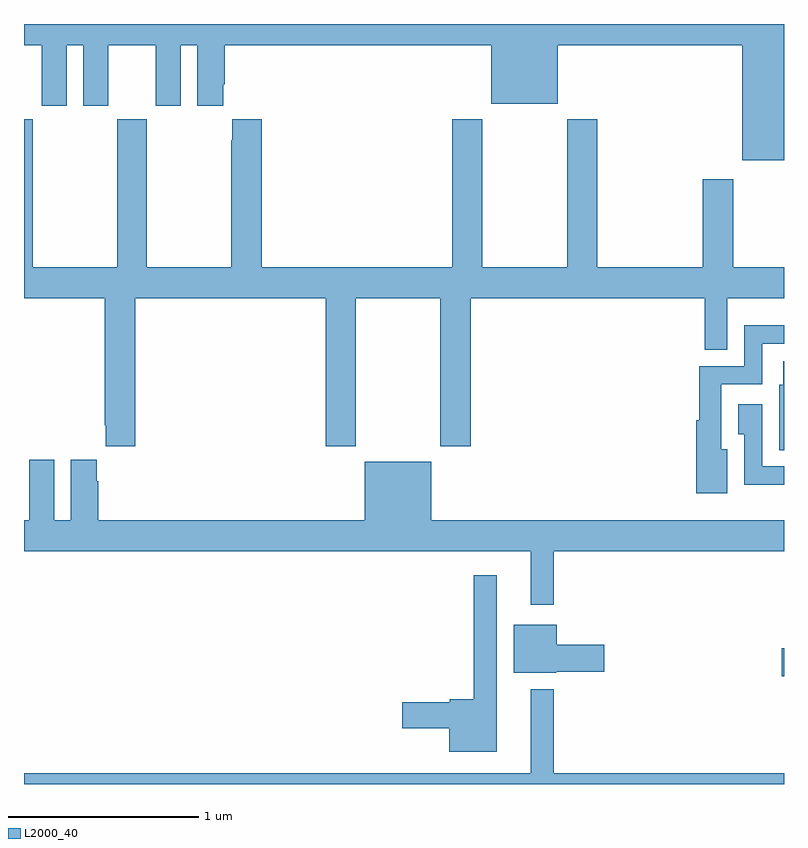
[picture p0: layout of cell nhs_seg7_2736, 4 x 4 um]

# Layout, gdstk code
import gdstk
lib = gdstk.Library(unit=1e-6, precision=1e-09)
def R(c, l, rs):  # rectangles x0, y0, x1, y1
    for r in rs: c.add(gdstk.rectangle(r[:2], r[2:], *l))
def P(c, l, *ps):  # polygons
    for p in ps: c.add(gdstk.Polygon(p, *l))
L2000_40 = (2000, 40)

nhs_seg7_2736 = lib.new_cell('nhs_seg7_2736')
R(nhs_seg7_2736, L2000_40, [(290.988,1058.567,291,1058.714)])
P(nhs_seg7_2736, L2000_40, [(291,1062),(287,1062),(287,1061.888),(287.093,1061.888),(287.093,1061.571),(287.224,1061.571),(287.224,1061.888),(287.312,1061.888),(287.312,1061.571),(287.443,1061.571),(287.443,1061.888),(287.693,1061.888),(287.693,1061.571),(287.824,1061.571),(287.824,1061.888),(287.912,1061.888),(287.912,1061.571),(288.049,1061.571),(288.049,1061.683),(288.056,1061.683),(288.056,1061.888),(289.46,1061.888),(289.46,1061.579),(289.81,1061.579),(289.81,1061.888),(290.78,1061.888),(290.78,1061.282),(291,1061.282)],
  [(287.585,1060.556),(288.587,1060.556),(288.587,1059.777),(288.747,1059.777),(288.747,1060.556),(289.192,1060.556),(289.192,1059.777),(289.352,1059.777),(289.352,1060.556),(290.583,1060.556),(290.583,1060.285),(290.701,1060.285),(290.701,1060.556),(291,1060.556),(291,1060.72),(290.733,1060.72),(290.733,1061.182),(290.573,1061.182),(290.573,1060.72),(290.018,1060.72),(290.018,1061.5),(289.858,1061.5),(289.858,1060.72),(289.413,1060.72),(289.413,1061.5),(289.253,1061.5),(289.253,1060.72),(288.251,1060.72),(288.251,1061.5),(288.095,1061.5),(288.095,1061.387),(288.091,1061.387),(288.091,1060.72),(287.646,1060.72),(287.646,1061.5),(287.491,1061.5),(287.491,1060.72),(287.046,1060.72),(287.046,1061.5),(287,1061.5),(287,1060.556),(287.425,1060.556),(287.425,1059.889),(287.429,1059.889),(287.429,1059.777),(287.585,1059.777)],
  [(290.701,1059.763),(290.671,1059.763),(290.671,1060.104),(290.886,1060.104),(290.886,1060.317),(291,1060.317),(291,1060.414),(290.79,1060.414),(290.79,1060.2),(290.553,1060.2),(290.553,1059.915),(290.537,1059.915),(290.537,1059.531),(290.701,1059.531)],
  [(291,1060.225),(290.996,1060.225),(290.996,1060.101),(290.975,1060.101),(290.975,1059.757),(291,1059.757)],
  [(291,1059.672),(290.886,1059.672),(290.886,1060),(290.759,1060),(290.759,1059.841),(290.79,1059.841),(290.79,1059.575),(291,1059.575)],
  [(289.789,1059.224),(291,1059.224),(291,1059.388),(289.144,1059.388),(289.144,1059.697),(288.794,1059.697),(288.794,1059.388),(287.39,1059.388),(287.39,1059.593),(287.383,1059.593),(287.383,1059.706),(287.246,1059.706),(287.246,1059.388),(287.158,1059.388),(287.158,1059.706),(287.027,1059.706),(287.027,1059.388),(287,1059.388),(287,1059.224),(289.667,1059.224),(289.667,1058.943),(289.789,1058.943)],
  [(289.489,1059.1),(289.368,1059.1),(289.368,1058.447),(289.242,1058.447),(289.242,1058.429),(288.99,1058.429),(288.99,1058.294),(289.238,1058.294),(289.238,1058.171),(289.489,1058.171)],
  [(289.8,1058.591),(290.053,1058.591),(290.053,1058.733),(289.804,1058.733),(289.804,1058.839),(289.577,1058.839),(289.577,1058.585),(289.8,1058.585)],
  [(291,1058.056),(289.789,1058.056),(289.789,1058.5),(289.667,1058.5),(289.667,1058.056),(287,1058.056),(287,1058),(291,1058)])

lib.write_gds('nhs_seg7_2736.gds')
